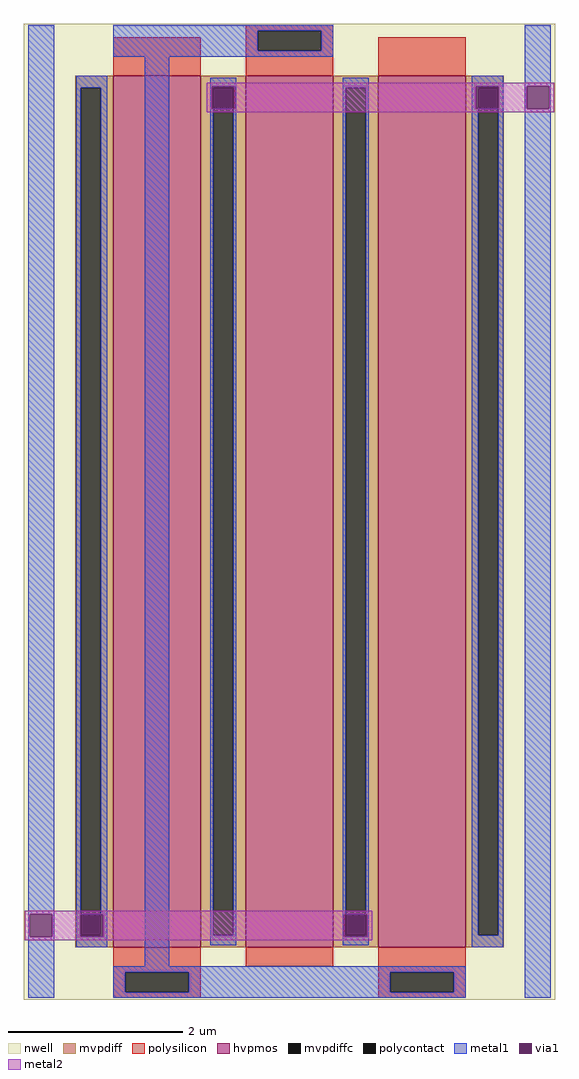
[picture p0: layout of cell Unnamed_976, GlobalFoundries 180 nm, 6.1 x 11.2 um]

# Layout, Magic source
magic
tech gf180mcuD
magscale 1 10
<< nwell >>
rect -192 -120 1028 2120
<< hvpmos >>
rect 14 0 214 2000
rect 318 0 518 2000
rect 622 0 822 2000
<< mvpdiff >>
rect -74 1973 14 2000
rect -74 27 -61 1973
rect -15 27 14 1973
rect -74 0 14 27
rect 214 1973 318 2000
rect 214 27 243 1973
rect 289 27 318 1973
rect 214 0 318 27
rect 518 1973 622 2000
rect 518 27 547 1973
rect 593 27 622 1973
rect 518 0 622 27
rect 822 1973 910 2000
rect 822 27 851 1973
rect 897 27 910 1973
rect 822 0 910 27
<< mvpdiffc >>
rect -61 27 -15 1973
rect 243 27 289 1973
rect 547 27 593 1973
rect 851 27 897 1973
<< polysilicon >>
rect 318 2103 518 2116
rect 14 2000 214 2088
rect 318 2057 345 2103
rect 491 2057 518 2103
rect 318 2000 518 2057
rect 622 2000 822 2088
rect 14 -57 214 0
rect 318 -44 518 0
rect 14 -103 41 -57
rect 187 -103 214 -57
rect 14 -116 214 -103
rect 622 -57 822 0
rect 622 -103 649 -57
rect 795 -103 822 -57
rect 622 -116 822 -103
<< polycontact >>
rect 345 2057 491 2103
rect 41 -103 187 -57
rect 649 -103 795 -57
<< metal1 >>
rect -182 76 -122 2116
rect 14 2103 518 2116
rect 14 2057 345 2103
rect 491 2057 518 2103
rect 14 2044 518 2057
rect -182 24 -178 76
rect -126 24 -122 76
rect -182 -116 -122 24
rect -72 1973 0 2000
rect -72 76 -61 1973
rect -15 76 0 1973
rect -72 24 -62 76
rect -10 24 0 76
rect -72 0 0 24
rect 86 -44 142 2044
rect 236 1976 296 1996
rect 236 1924 240 1976
rect 292 1924 296 1976
rect 236 27 243 1924
rect 289 27 296 1924
rect 236 4 296 27
rect 540 1973 600 1996
rect 540 76 547 1973
rect 593 76 600 1973
rect 540 24 544 76
rect 596 24 600 76
rect 540 4 600 24
rect 836 1976 908 2000
rect 836 1924 846 1976
rect 898 1924 908 1976
rect 836 27 851 1924
rect 897 27 908 1924
rect 836 0 908 27
rect 958 1976 1018 2116
rect 958 1924 962 1976
rect 1014 1924 1018 1976
rect 14 -57 822 -44
rect 14 -103 41 -57
rect 187 -103 649 -57
rect 795 -103 822 -57
rect 14 -116 822 -103
rect 958 -116 1018 1924
<< via1 >>
rect -178 24 -126 76
rect -62 27 -61 76
rect -61 27 -15 76
rect -15 27 -10 76
rect -62 24 -10 27
rect 240 1973 292 1976
rect 240 1924 243 1973
rect 243 1924 289 1973
rect 289 1924 292 1973
rect 544 27 547 76
rect 547 27 593 76
rect 593 27 596 76
rect 544 24 596 27
rect 846 1973 898 1976
rect 846 1924 851 1973
rect 851 1924 897 1973
rect 897 1924 898 1973
rect 962 1924 1014 1976
<< metal2 >>
rect 228 1976 1026 1984
rect 228 1924 240 1976
rect 292 1924 846 1976
rect 898 1924 962 1976
rect 1014 1924 1026 1976
rect 228 1916 1026 1924
rect -190 76 608 84
rect -190 24 -178 76
rect -126 24 -62 76
rect -10 24 544 76
rect 596 24 608 76
rect -190 16 608 24
<< end >>
